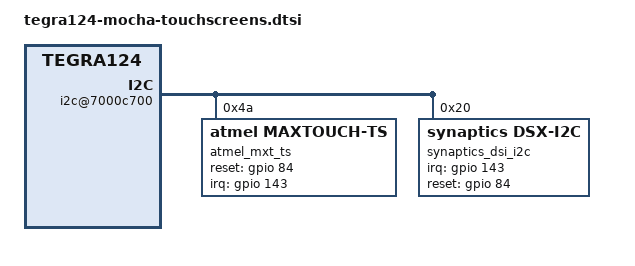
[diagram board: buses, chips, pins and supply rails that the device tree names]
/ {
	i2c@7000c700 {
		atmel_mxt_ts@4a {
			compatible = "atmel,maxtouch-ts";
			status = "okay";
			reg = <0x4a>;

			interrupt-parent = <&gpio>;
			interrupts = <143 0x2008>;
			atmel,irq-flags = <0x2008>;
			atmel,reset-gpio = <&gpio 84 0x2008>;
			atmel,irq-gpio = <&gpio 143 0x2008>;
			atmel,gpio-mask = <0xc>;
			atmel,vendor-info = <0x03eb>;
			atmel,product-info = <0x214f>;
			atmel,config-array-size = <3>;

			atmel,cfg_1 {
				atmel,family-id = <0xA4>;
				atmel,variant-id = <0x04>;
				atmel,version = <0x10>;
				atmel,build = <0xAA>;
				atmel,user-id = <0x00>;
				atmel,bootldr-id = <0x48>;
				atmel,mxt-cfg-name = "atmel/mxt1664t_config_no_dummy.fw";
				atmel,vendor-id = <0x4>;
				atmel,mxt-fw-name = "atmel/mxt1664t.fw";
				atmel,key-codes = <158 102 139>;
			};
			atmel,cfg_2 {
				atmel,family-id = <0xA4>;
				atmel,variant-id = <0x04>;
				atmel,version = <0x10>;
				atmel,build = <0xAA>;
				atmel,user-id = <0xAA>;
				atmel,bootldr-id = <0x48>;
				atmel,mxt-cfg-name = "atmel/mxt1664t_config_with_dummy.fw";
				atmel,vendor-id = <0x4>;
				atmel,mxt-fw-name = "atmel/mxt1664t.fw";
				atmel,key-codes = <158 102 139>;
			};
			atmel,cfg_3 {
				atmel,family-id = <0xA4>;
				atmel,variant-id = <0x0B>;
				atmel,version = <0x12>;
				atmel,build = <0xAA>;
				atmel,user-id = <0x00>;
				atmel,bootldr-id = <0x51>;
				atmel,mxt-cfg-name = "atmel/mxt1066t_config.fw";
				atmel,vendor-id = <0x4>;
				atmel,mxt-fw-name = "atmel/mxt1066t.fw";
				atmel,key-codes = <139 102 158>;
			};
		};
		synaptics_dsi_i2c@20 {
			compatible = "synaptics,dsx-i2c";
			status = "okay";
			reg = <0x20>;
			
			interrupt-parent = <&gpio>;
			interrupts = <143 0x2008>;
			synaptics,irq-gpio = <&gpio 143 0x2008>;
			synaptics,reset-gpio = <&gpio 84 0x2008>;
			synaptics,irq-on-state = <0>;
			synaptics,power-on-state = <1>;
			synaptics,reset-on-state = <0>;
			synaptics,power-delay-ms = <160>;
			synaptics,reset-delay-ms = <100>;
			synaptics,reset-active-ms = <20>;
			synaptics,pwr-reg-name = "vdd-touch";
			synaptics,cap-button-map = <139 102 158 116>;
		};
	};
};
